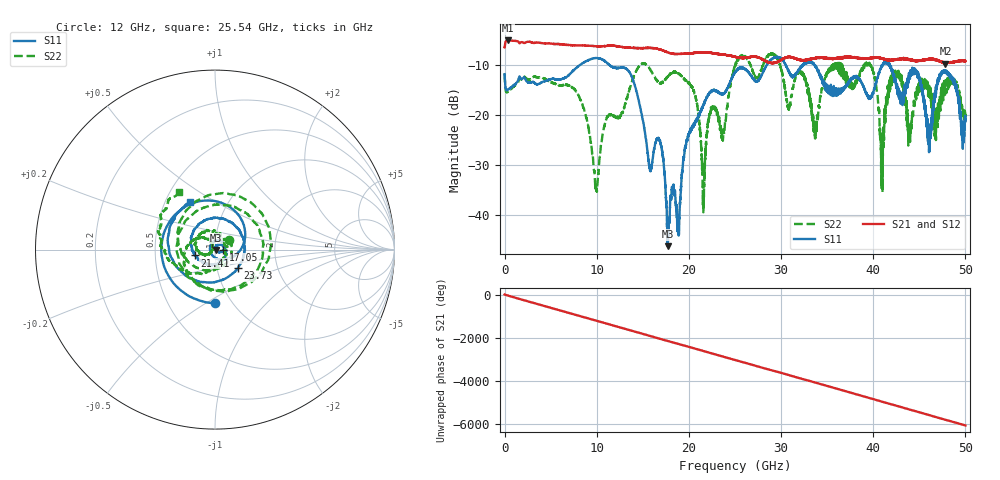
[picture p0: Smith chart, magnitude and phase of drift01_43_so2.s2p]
!Created with skrf (http://scikit-rf.org).
# Hz S RI R 50.0
!freq ReS11 ImS11 ReS21 ImS21 ReS12 ImS12 ReS22 ImS22
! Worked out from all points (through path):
!   10001 points, 300 kHz to 50 GHz, reference 50 ohm
!   highest |S21| = -5.05 dB at 395.3 MHz (marker M1); lowest = -9.7 dB at 47.84 GHz (marker M2)
!   group delay of S21, straight-line fit = 336 ps
!   lowest |S11| = -46.2 dB at 17.69 GHz (marker M3), VSWR 1.01, Z = 50.5 - j0.159 ohm
!   |S11| at or under -10 dB: start of sweep to 8.153 GHz; 11.4 GHz to 28.43 GHz (17.03 GHz wide, 85.5 % of centre); 41.8 GHz to end of sweep (the widest 3 of 12)
!   |S22| runs from -39.4 to -7.6 dB; largest |S21 - S12| = 0.014
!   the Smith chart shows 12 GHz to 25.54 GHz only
!   S11 on the Smith chart (normalised r, x): 12 GHz: 0.84, -0.55; 17.05 GHz: 1.10, -0.01; 21.41 GHz: 0.79, -0.05; 23.73 GHz: 1.26, -0.27; 25.54 GHz: 0.67, +0.39
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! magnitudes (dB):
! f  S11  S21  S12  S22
! 300 kHz  -11.8  -6.5  -6.5  -11.7
! 395.3 MHz  -14.8  -5.1  -5.1  -15.2
! 8.335 GHz  -9.8  -6.0  -6.0  -17.5
! 9.935 GHz  -8.6  -6.2  -6.2  -34.6
! 12 GHz  -10.5  -6.1  -6.1  -20.4
! 15.79 GHz  -31.1  -6.5  -6.6  -10.8
! 16.67 GHz  -24.6  -6.8  -6.8  -13.4
! 17.05 GHz  -26.6  -7.0  -7.0  -13.6
! 17.69 GHz  -46.2  -7.4  -7.4  -12.3
! 20.48 GHz  -22.3  -7.6  -7.6  -15.0
! 21.41 GHz  -18.6  -7.4  -7.4  -29.3
! 22.47 GHz  -15.2  -7.5  -7.6  -19.0
! 23.73 GHz  -15.7  -7.9  -7.9  -23.8
! 25 GHz  -11.4  -8.3  -8.4  -10.3
! 25.54 GHz  -10.5  -8.5  -8.5  -8.4
! 33.34 GHz  -9.5  -8.7  -8.7  -20.0
! 39.48 GHz  -16.4  -8.6  -8.7  -10.0
! 40.95 GHz  -10.1  -8.7  -8.6  -27.8
! 41.67 GHz  -9.8  -8.9  -9.0  -14.9
! 46.1 GHz  -25.0  -8.8  -8.8  -15.0
! 47.84 GHz  -11.2  -9.7  -9.6  -13.9
! 50 GHz  -20.8  -9.2  -9.1  -19.9
